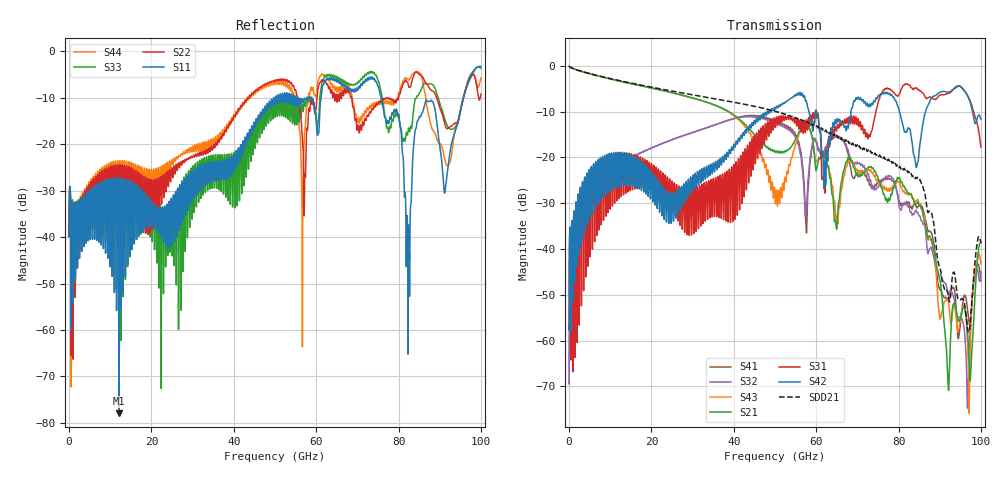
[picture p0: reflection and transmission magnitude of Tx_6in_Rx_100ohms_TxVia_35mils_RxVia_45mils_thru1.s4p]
! Info: Touchstone file created by Circ.  Input file=Tx_6in_Rx_100ohms_TxVia_35mils_RxVia_45mils.circ
# Hz S RI R 50
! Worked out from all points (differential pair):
!   10000 points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, 10 MHz to 100 GHz, reference 50 ohm
!   strongest paths, dB at 10 MHz, 25.01 GHz, 50.01 GHz, 75.01 GHz, 100 GHz:
!     S42: -57.7, -28.0, -9.3, -6.6, -11.7
!     S31: -57.7, -25.2, -12.7, -8.1, -17.7
!     S21: -0.1, -5.9, -18.8, -24.4, -38.5
!     S43: -0.1, -5.9, -28.6, -25.5, -43.2
!     S32: -69.4, -16.1, -12.4, -26.5, -45.0
!     S41: -69.4, -16.1, -11.9, -25.5, -46.9
!   taken as a pair (ports 1,3 in; 2,4 out), SDD21 dB: -0.1, -5.5, -10.0, -19.5, -38.7
!   lowest |S11| = -78.0 dB at 12.07 GHz (marker M1), VSWR 1.00, Z = 50 + j0.00865 ohm
!   |S11| at or under -10 dB: start of sweep to 49.66 GHz; 58.97 GHz to 61.19 GHz (2.228 GHz wide, 3.71 % of centre); 75.8 GHz to 95.75 GHz (19.95 GHz wide, 23.3 % of centre)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
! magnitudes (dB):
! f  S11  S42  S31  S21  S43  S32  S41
! 10 MHz  -39.8  -57.7  -57.7  -0.1  -0.1  -69.4  -69.4
! 12.07 GHz  -78.0  -23.7  -25.2  -3.3  -3.3  -21.6  -21.6
! 73.36 GHz  -5.9  -8.3  -14.3  -22.0  -23.1  -25.7  -26.4
! 82.31 GHz  -63.4  -13.6  -4.0  -27.8  -28.1  -30.8  -30.1
! 86.53 GHz  -10.8  -10.1  -6.9  -35.0  -34.2  -35.8  -33.5
! 92.04 GHz  -24.6  -5.8  -6.0  -69.8  -51.3  -49.5  -50.8
! 100 GHz  -3.2  -11.7  -17.7  -38.5  -43.2  -45.0  -46.9
